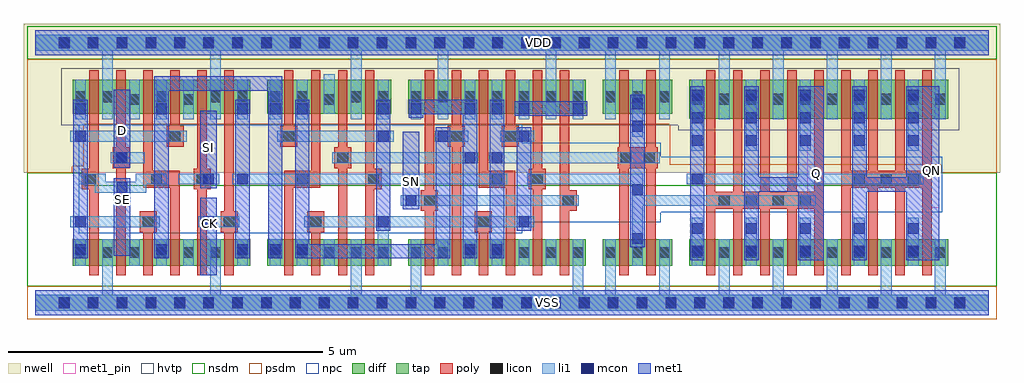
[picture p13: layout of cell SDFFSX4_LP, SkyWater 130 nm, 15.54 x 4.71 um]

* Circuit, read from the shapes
.subckt SDFFSX4_LP CK D Q QN SE SI SN VDD VSS
XM1 VSS SE n1 VSS sky130_fd_pr__nfet_01v8 w=0.42 l=0.15
XM2 n2 D VSS VSS sky130_fd_pr__nfet_01v8 w=0.42 l=0.15
XM3 n3 n1 n2 VSS sky130_fd_pr__nfet_01v8 w=0.42 l=0.15
XM4 n4 SE n3 VSS sky130_fd_pr__nfet_01v8 w=0.42 l=0.15
XM5 VSS SI n4 VSS sky130_fd_pr__nfet_01v8 w=0.42 l=0.15
XM6 n5 CK VSS VSS sky130_fd_pr__nfet_01v8 w=0.42 l=0.15
XM7 n6 n5 n3 VSS sky130_fd_pr__nfet_01v8 w=0.42 l=0.15
XM8 n7 n8 n6 VSS sky130_fd_pr__nfet_01v8 w=0.42 l=0.15
XM9 VSS n9 n7 VSS sky130_fd_pr__nfet_01v8 w=0.42 l=0.15
XM10 n8 n5 VSS VSS sky130_fd_pr__nfet_01v8 w=0.42 l=0.15
XM11 n10 SN VSS VSS sky130_fd_pr__nfet_01v8 w=0.42 l=0.15
XM12 n9 n6 n10 VSS sky130_fd_pr__nfet_01v8 w=0.42 l=0.15
XM13 n11 n8 n9 VSS sky130_fd_pr__nfet_01v8 w=0.42 l=0.15
XM14 n12 n5 n11 VSS sky130_fd_pr__nfet_01v8 w=0.42 l=0.15
XM15 n13 n14 n12 VSS sky130_fd_pr__nfet_01v8 w=0.42 l=0.15
XM16 VSS SN n13 VSS sky130_fd_pr__nfet_01v8 w=0.42 l=0.15
XM17 n14 n11 VSS VSS sky130_fd_pr__nfet_01v8 w=0.42 l=0.15 m=2
XM18 VSS n14 n15 VSS sky130_fd_pr__nfet_01v8 w=0.42 l=0.15
XM19 Q n14 VSS VSS sky130_fd_pr__nfet_01v8 w=0.42 l=0.15 m=4
XM20 QN n15 VSS VSS sky130_fd_pr__nfet_01v8 w=0.42 l=0.15 m=4
XM21 VDD SE n1 VDD sky130_fd_pr__pfet_01v8_hvt w=0.54 l=0.15
XM22 n16 D VDD VDD sky130_fd_pr__pfet_01v8_hvt w=0.54 l=0.15
XM23 n3 SE n16 VDD sky130_fd_pr__pfet_01v8_hvt w=0.54 l=0.15
XM24 n17 n1 n3 VDD sky130_fd_pr__pfet_01v8_hvt w=0.54 l=0.15
XM25 VDD SI n17 VDD sky130_fd_pr__pfet_01v8_hvt w=0.54 l=0.15
XM26 n5 CK VDD VDD sky130_fd_pr__pfet_01v8_hvt w=0.54 l=0.15
XM27 n6 n8 n3 VDD sky130_fd_pr__pfet_01v8_hvt w=0.54 l=0.15
XM28 n18 n5 n6 VDD sky130_fd_pr__pfet_01v8_hvt w=0.54 l=0.15
XM29 VDD n9 n18 VDD sky130_fd_pr__pfet_01v8_hvt w=0.54 l=0.15
XM30 n8 n5 VDD VDD sky130_fd_pr__pfet_01v8_hvt w=0.54 l=0.15
XM31 VDD SN n9 VDD sky130_fd_pr__pfet_01v8_hvt w=0.54 l=0.15
XM32 n9 n6 VDD VDD sky130_fd_pr__pfet_01v8_hvt w=0.54 l=0.15
XM33 n11 n5 n9 VDD sky130_fd_pr__pfet_01v8_hvt w=0.54 l=0.15
XM34 n19 n8 n11 VDD sky130_fd_pr__pfet_01v8_hvt w=0.54 l=0.15
XM35 VDD n14 n19 VDD sky130_fd_pr__pfet_01v8_hvt w=0.54 l=0.15
XM36 n19 SN VDD VDD sky130_fd_pr__pfet_01v8_hvt w=0.54 l=0.15
XM37 n14 n11 VDD VDD sky130_fd_pr__pfet_01v8_hvt w=0.54 l=0.15 m=2
XM38 VDD n14 n15 VDD sky130_fd_pr__pfet_01v8_hvt w=0.62 l=0.15
XM39 Q n14 VDD VDD sky130_fd_pr__pfet_01v8_hvt w=0.62 l=0.15 m=4
XM40 QN n15 VDD VDD sky130_fd_pr__pfet_01v8_hvt w=0.62 l=0.15 m=4
.ends

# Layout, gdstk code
from math import pi, radians
import gdstk
lib = gdstk.Library(unit=1e-6, precision=1e-09)
def R(c, l, rs):  # rectangles x0, y0, x1, y1
    for r in rs: c.add(gdstk.rectangle(r[:2], r[2:], *l))
def A(c, l, x, y, w, h, nx, ny, dx, dy):  # array of equal rectangles
    R(c, l, [(x+i*dx, y+j*dy, x+i*dx+w, y+j*dy+h) for i in range(nx) for j in range(ny)])
def P(c, l, *ps):  # polygons
    for p in ps: c.add(gdstk.Polygon(p, *l))
nwell = (64, 20)
diff = (65, 20)
tap = (65, 44)
poly = (66, 20)
licon = (66, 44)
li1 = (67, 20)
mcon = (67, 44)
met1_pin = (68, 16)
met1 = (68, 20)
hvtp = (78, 44)
nsdm = (93, 44)
psdm = (94, 20)
npc = (95, 20)

pyl1con_c_cdns_758729379 = lib.new_cell('PYL1CON_C_CDNS_758729379653')
R(pyl1con_c_cdns_758729379, poly, [(-0.135,-0.165,0.135,0.165)])
R(pyl1con_c_cdns_758729379, licon, [(-0.085,-0.085,0.085,0.085)])
R(pyl1con_c_cdns_758729379, npc, [(-0.185,-0.185,0.185,0.185)])

l1m1_c_cdns_758729379651 = lib.new_cell('L1M1_C_CDNS_7587293796510')
R(l1m1_c_cdns_758729379651, li1, [(-0.085,-0.525,0.085,0.525)])
A(l1m1_c_cdns_758729379651, mcon, -0.085, -0.445, 0.17, 0.17, 1, 3, 0, 0.36)
R(l1m1_c_cdns_758729379651, met1, [(-0.115,-0.505,0.115,0.505)])

l1m1_c_cdns_758729379655 = lib.new_cell('L1M1_C_CDNS_758729379655')
R(l1m1_c_cdns_758729379655, li1, [(-0.085,-0.165,0.085,0.165)])
R(l1m1_c_cdns_758729379655, mcon, [(-0.085,-0.085,0.085,0.085)])
R(l1m1_c_cdns_758729379655, met1, [(-0.115,-0.145,0.115,0.145)])

l1m1_c_cdns_758729379659 = lib.new_cell('L1M1_C_CDNS_758729379659')
R(l1m1_c_cdns_758729379659, li1, [(-0.085,-0.345,0.085,0.345)])
R(l1m1_c_cdns_758729379659, mcon, [(-0.085,-0.265,0.085,-0.095), (-0.085,0.095,0.085,0.265)])
R(l1m1_c_cdns_758729379659, met1, [(-0.115,-0.325,0.115,0.325)])

l1m1_c_cdns_758729379654 = lib.new_cell('L1M1_C_CDNS_758729379654')
R(l1m1_c_cdns_758729379654, li1, [(-0.165,-0.085,0.165,0.085)])
R(l1m1_c_cdns_758729379654, mcon, [(-0.085,-0.085,0.085,0.085)])
R(l1m1_c_cdns_758729379654, met1, [(-0.115,-0.145,0.115,0.145)])

l1m1_c_cdns_758729379652 = lib.new_cell('L1M1_C_CDNS_7587293796521')
R(l1m1_c_cdns_758729379652, li1, [(-0.085,-0.165,0.085,0.165)])
R(l1m1_c_cdns_758729379652, mcon, [(-0.085,-0.085,0.085,0.085)])
R(l1m1_c_cdns_758729379652, met1, [(-0.145,-0.085,0.145,0.085)])

licondiff_c_cdns_7587293 = lib.new_cell('LICONDIFF_C_CDNS_758729379657')
R(licondiff_c_cdns_7587293, diff, [(-0.125,-0.145,0.125,0.145)])
R(licondiff_c_cdns_7587293, licon, [(-0.085,-0.085,0.085,0.085), (-0.085,-0.085,0.085,0.085)])

c_pyl1con_c_cdns_758729379 = lib.new_cell('PYL1CON_C_CDNS_7587293796516')
R(c_pyl1con_c_cdns_758729379, poly, [(-0.135,-0.29,0.135,0.29)])
R(c_pyl1con_c_cdns_758729379, licon, [(-0.085,-0.085,0.085,0.085)])
R(c_pyl1con_c_cdns_758729379, npc, [(-0.185,-0.185,0.185,0.185)])

c_l1m1_c_cdns_758729379651 = lib.new_cell('L1M1_C_CDNS_7587293796519')
R(c_l1m1_c_cdns_758729379651, li1, [(-0.125,-0.085,0.125,0.085)])
R(c_l1m1_c_cdns_758729379651, mcon, [(-0.085,-0.085,0.085,0.085)])
R(c_l1m1_c_cdns_758729379651, met1, [(-0.115,-0.145,0.115,0.145)])

c_pyl1con_c_cdns_758729379_ = lib.new_cell('PYL1CON_C_CDNS_7587293796520')
R(c_pyl1con_c_cdns_758729379_, poly, [(-0.135,-0.37,0.135,0.21)])
R(c_pyl1con_c_cdns_758729379_, licon, [(-0.085,-0.085,0.085,0.085)])
R(c_pyl1con_c_cdns_758729379_, npc, [(-0.185,-0.185,0.185,0.185)])

sdffsx4_lp = lib.new_cell('SDFFSX4_LP')
R(sdffsx4_lp, nwell, [(-0.18,2.07,15.36,4.445)])
R(sdffsx4_lp, diff, [(0.595,0.59,3.425,1.01), (3.695,0.59,5.665,1.01), (5.935,0.59,8.765,1.01), (9.035,0.59,10.145,1.01), (10.415,0.59,14.535,1.01), (10.415,2.93,14.535,3.55), (0.595,3.01,3.425,3.55), (3.695,3.01,5.665,3.55), (5.935,3.01,8.765,3.55), (9.035,3.01,10.145,3.55)])
A(sdffsx4_lp, poly, 1.72, 0.44, 0.15, 0.72, 3, 1, 2.67, 0)
A(sdffsx4_lp, poly, 10.68, 0.44, 0.15, 3.26, 9, 1, 0.43, 0)
R(sdffsx4_lp, poly, [(0.86,0.44,1.01,3.7), (1.29,0.44,1.44,3.7), (2.58,0.44,2.73,3.7), (3.01,0.44,3.16,3.7), (4.82,0.44,4.97,3.7), (5.25,0.44,5.4,3.7), (6.2,0.44,6.35,3.7), (6.63,0.44,6.78,3.7), (7.92,0.44,8.07,3.7), (8.35,0.44,8.5,3.7), (2.15,2.65,2.3,3.7), (3.96,2.65,4.11,3.7), (7.49,2.65,7.64,3.7)])
P(sdffsx4_lp, poly, [(2.3,2.045),(1.87,2.045),(1.87,3.7),(1.72,3.7),(1.72,1.895),(2.15,1.895),(2.15,0.44),(2.3,0.44)],
  [(4.54,3.7),(4.39,3.7),(4.39,2.045),(3.96,2.045),(3.96,0.44),(4.11,0.44),(4.11,1.895),(4.54,1.895)],
  [(7.64,2.045),(7.21,2.045),(7.21,3.7),(7.06,3.7),(7.06,1.895),(7.49,1.895),(7.49,0.44),(7.64,0.44)],
  [(9.91,2.475),(9.88,2.475),(9.88,3.7),(9.73,3.7),(9.73,2.475),(9.45,2.475),(9.45,3.7),(9.3,3.7),(9.3,2.475),(9.27,2.475),(9.27,2.145),(9.3,2.145),(9.3,0.44),(9.45,0.44),(9.45,2.145),(9.73,2.145),(9.73,0.44),(9.88,0.44),(9.88,2.145),(9.91,2.145)])
A(sdffsx4_lp, licon, 0.375, -0.085, 0.17, 0.17, 32, 2, 0.46, 4.14)
A(sdffsx4_lp, licon, 1.065, 0.715, 0.17, 0.17, 3, 2, 0.86, 2.48)
A(sdffsx4_lp, licon, 9.075, 0.715, 0.17, 0.17, 3, 2, 0.43, 2.48)
A(sdffsx4_lp, licon, 10.455, 0.715, 0.17, 0.17, 10, 2, 0.43, 2.44)
A(sdffsx4_lp, licon, 5.975, 3.195, 0.17, 0.17, 7, 1, 0.43, 0)
R(sdffsx4_lp, licon, [(0.635,0.715,0.805,0.885), (3.215,0.715,3.385,0.885), (3.735,0.715,3.905,0.885), (4.165,0.715,4.335,0.885), (5.025,0.715,5.195,0.885), (5.455,0.715,5.625,0.885), (5.975,0.715,6.145,0.885), (6.835,0.715,7.005,0.885), (7.265,0.715,7.435,0.885), (8.555,0.715,8.725,0.885), (0.635,3.195,0.805,3.365), (3.215,3.195,3.385,3.365), (3.735,3.195,3.905,3.365), (4.165,3.195,4.335,3.365), (5.025,3.195,5.195,3.365), (5.455,3.195,5.625,3.365)])
A(sdffsx4_lp, li1, 0.635, 0.59, 0.17, 0.42, 3, 1, 1.29, 0)
A(sdffsx4_lp, li1, 10.455, 0.59, 0.17, 0.42, 5, 1, 0.86, 0)
A(sdffsx4_lp, li1, 10.455, 2.93, 0.17, 0.62, 5, 1, 0.86, 0)
A(sdffsx4_lp, li1, 0.635, 3.01, 0.17, 0.54, 3, 1, 1.29, 0)
A(sdffsx4_lp, li1, 6.835, 3.01, 0.17, 0.54, 3, 1, 0.43, 0)
R(sdffsx4_lp, li1, [(3.735,0.59,3.905,1.01), (4.165,0.59,4.335,1.01), (6.835,0.59,7.005,1.01), (7.265,0.59,7.435,1.01), (3.735,3.01,3.905,3.55), (4.165,3.01,4.335,3.55), (5.455,3.01,5.625,3.55), (5.975,3.01,6.145,3.55), (8.555,3.01,8.725,3.55), (9.505,3.01,9.675,3.55)])
P(sdffsx4_lp, li1, [(2.095,2.055),(1.6,2.055),(1.6,1.925),(1.12,1.925),(1.12,2.055),(0.69,2.055),(0.69,1.885),(0.95,1.885),(0.95,1.755),(1.77,1.755),(1.77,1.885),(2.095,1.885)],
  [(7.945,1.375),(4.28,1.375),(4.28,1.205),(5.455,1.205),(5.455,0.59),(5.625,0.59),(5.625,1.205),(7.945,1.205)],
  [(12.425,1.715),(9.675,1.715),(9.675,2.055),(7.83,2.055),(7.83,1.885),(9.505,1.885),(9.505,0.59),(9.675,0.59),(9.675,1.545),(12.425,1.545)],
  [(15.18,4.265),(0,4.265),(0,4.015),(1.065,4.015),(1.065,2.925),(1.235,2.925),(1.235,4.015),(2.785,4.015),(2.785,2.925),(2.955,2.925),(2.955,4.015),(5.025,4.015),(5.025,2.925),(5.195,2.925),(5.195,4.015),(6.405,4.015),(6.405,2.925),(6.575,2.925),(6.575,4.015),(8.125,4.015),(8.125,2.925),(8.295,2.925),(8.295,4.015),(9.075,4.015),(9.075,2.925),(9.245,2.925),(9.245,4.015),(9.935,4.015),(9.935,2.925),(10.105,2.925),(10.105,4.015),(10.885,4.015),(10.885,2.925),(11.055,2.925),(11.055,4.015),(11.745,4.015),(11.745,2.925),(11.915,2.925),(11.915,4.015),(12.605,4.015),(12.605,2.925),(12.775,2.925),(12.775,4.015),(13.465,4.015),(13.465,2.925),(13.635,2.925),(13.635,4.015),(14.325,4.015),(14.325,2.925),(14.495,2.925),(14.495,4.015),(15.18,4.015)],
  [(15.18,0.125),(14.495,0.125),(14.495,1.015),(14.325,1.015),(14.325,0.125),(13.635,0.125),(13.635,1.015),(13.465,1.015),(13.465,0.125),(12.775,0.125),(12.775,1.015),(12.605,1.015),(12.605,0.125),(11.915,0.125),(11.915,1.015),(11.745,1.015),(11.745,0.125),(11.055,0.125),(11.055,1.015),(10.885,1.015),(10.885,0.125),(10.105,0.125),(10.105,1.015),(9.935,1.015),(9.935,0.125),(9.245,0.125),(9.245,1.015),(9.075,1.015),(9.075,0.125),(8.725,0.125),(8.725,1.015),(8.555,1.015),(8.555,0.125),(6.145,0.125),(6.145,1.015),(5.975,1.015),(5.975,0.125),(5.195,0.125),(5.195,1.015),(5.025,1.015),(5.025,0.125),(2.955,0.125),(2.955,1.015),(2.785,1.015),(2.785,0.125),(1.235,0.125),(1.235,1.015),(1.065,1.015),(1.065,0.125),(0,0.125),(0,-0.125),(15.18,-0.125)])
A(sdffsx4_lp, mcon, 0.375, -0.085, 0.17, 0.17, 32, 2, 0.46, 4.14)
R(sdffsx4_lp, met1_pin, [(2.63,0.435,2.89,1.675), (1.25,0.745,1.51,1.985), (12.29,1.465,12.55,2.705), (5.85,1.485,6.11,2.725), (14.13,1.515,14.39,2.755), (2.63,1.82,2.89,3.06), (1.25,2.15,1.51,3.39)])
P(sdffsx4_lp, met1, [(12.55,3.45),(12.145,3.45),(12.145,2),(11.515,2),(11.515,3.45),(11.285,3.45),(11.285,0.68),(11.515,0.68),(11.515,1.77),(12.145,1.77),(12.145,0.68),(12.55,0.68)],
  [(14.39,3.45),(13.865,3.45),(13.865,2),(13.235,2),(13.235,3.45),(13.005,3.45),(13.005,0.68),(13.235,0.68),(13.235,1.77),(13.865,1.77),(13.865,0.675),(14.39,0.675)])
P(sdffsx4_lp, hvtp, [(14.715,3.73),(0.415,3.73),(0.415,2.83),(10.235,2.83),(10.235,2.75),(14.715,2.75)])
R(sdffsx4_lp, nsdm, [(-0.125,3.875,15.305,4.405)])
P(sdffsx4_lp, nsdm, [(15.305,2.07),(14.085,2.07),(14.085,1.875),(0.77,1.875),(0.77,2.07),(-0.125,2.07),(-0.125,0.265),(15.305,0.265)])
R(sdffsx4_lp, psdm, [(-0.125,-0.265,15.305,0.265)])
P(sdffsx4_lp, psdm, [(15.305,3.875),(-0.125,3.875),(-0.125,2.07),(0.585,2.07),(0.585,2.17),(0.77,2.17),(0.77,2.845),(10.1,2.845),(10.1,2.2),(14.425,2.2),(14.425,2.07),(15.305,2.07)])
P(sdffsx4_lp, npc, [(14.44,2.325),(9.96,2.325),(9.96,2.55),(7.75,2.55),(7.75,2.835),(0.69,2.835),(0.69,1.11),(7.75,1.11),(7.75,1.285),(9.96,1.285),(9.96,1.445),(14.44,1.445)])
sdffsx4_lp.add(gdstk.FlexPath([(6.365,2.65),(6.89,2.65)], 0.17, ends="flush", simple_path=True, layer=67, datatype=20))  # li1
sdffsx4_lp.add(gdstk.FlexPath([(3.85,2.65),(5.705,2.65)], 0.17, ends="flush", simple_path=True, layer=67, datatype=20))  # li1
sdffsx4_lp.add(gdstk.FlexPath([(7.4,2.65),(7.945,2.65)], 0.17, ends="flush", simple_path=True, layer=67, datatype=20))  # li1
sdffsx4_lp.add(gdstk.FlexPath([(0.555,1.29),(1.98,1.29)], 0.17, ends="flush", simple_path=True, layer=67, datatype=20))  # li1
sdffsx4_lp.add(gdstk.FlexPath([(4.68,3.01),(4.68,3.635)], 0.17, ends="flush", simple_path=True, layer=67, datatype=20))  # li1
sdffsx4_lp.add(gdstk.FlexPath([(4.68,0.59),(4.68,1.015)], 0.17, ends="flush", simple_path=True, layer=67, datatype=20))  # li1
sdffsx4_lp.add(gdstk.FlexPath([(8.21,0.59),(8.21,1.015)], 0.17, ends="flush", simple_path=True, layer=67, datatype=20))  # li1
sdffsx4_lp.add(gdstk.FlexPath([(7.78,0.59),(7.78,1.015)], 0.17, ends="flush", simple_path=True, layer=67, datatype=20))  # li1
sdffsx4_lp.add(gdstk.FlexPath([(2.82,1.97),(2.275,1.97)], 0.17, ends="flush", simple_path=True, layer=67, datatype=20))  # li1
sdffsx4_lp.add(gdstk.FlexPath([(3.25,1.29),(2.705,1.29)], 0.17, ends="flush", simple_path=True, layer=67, datatype=20))  # li1
sdffsx4_lp.add(gdstk.FlexPath([(3.135,1.97),(7.515,1.97)], 0.17, ends="flush", simple_path=True, layer=67, datatype=20))  # li1
sdffsx4_lp.add(gdstk.FlexPath([(6.49,0.59),(6.49,1.015)], 0.17, ends="flush", simple_path=True, layer=67, datatype=20))  # li1
sdffsx4_lp.add(gdstk.FlexPath([(7.225,2.31),(9.94,2.31)], 0.17, ends="flush", simple_path=True, layer=67, datatype=20))  # li1
sdffsx4_lp.add(gdstk.FlexPath([(0.555,2.65),(2.41,2.65)], 0.17, ends="flush", simple_path=True, layer=67, datatype=20))  # li1
sdffsx4_lp.add(gdstk.FlexPath([(1.58,2.925),(1.58,3.55)], 0.17, ends="flush", simple_path=True, layer=67, datatype=20))  # li1
sdffsx4_lp.add(gdstk.FlexPath([(2.44,2.925),(2.44,3.55)], 0.17, ends="flush", simple_path=True, layer=67, datatype=20))  # li1
sdffsx4_lp.add(gdstk.FlexPath([(5.895,1.63),(8.65,1.63)], 0.17, ends="flush", simple_path=True, layer=67, datatype=20))  # li1
sdffsx4_lp.add(gdstk.FlexPath([(10.54,1.97),(14.145,1.97)], 0.17, ends="flush", simple_path=True, layer=67, datatype=20))  # li1
sdffsx4_lp.add(gdstk.FlexPath([(1.58,0.59),(1.58,1.015)], 0.17, ends="flush", simple_path=True, layer=67, datatype=20))  # li1
sdffsx4_lp.add(gdstk.FlexPath([(2.44,0.59),(2.44,1.015)], 0.17, ends="flush", simple_path=True, layer=67, datatype=20))  # li1
sdffsx4_lp.add(gdstk.FlexPath([(1.745,2.31),(1.2,2.31)], 0.17, ends="flush", simple_path=True, layer=67, datatype=20))  # li1
sdffsx4_lp.add(gdstk.FlexPath([(7.045,2.31),(4.73,2.31)], 0.17, ends="flush", simple_path=True, layer=67, datatype=20))  # li1
sdffsx4_lp.add(gdstk.FlexPath([(0,0),(15.18,0)], 0.4, ends="flush", simple_path=True, layer=68, datatype=20))  # met1
sdffsx4_lp.add(gdstk.FlexPath([(0,4.14),(15.18,4.14)], 0.4, ends="flush", simple_path=True, layer=68, datatype=20))  # met1
sdffsx4_lp.add(gdstk.FlexPath([(7.78,1.145),(7.78,2.795)], 0.23, ends="flush", simple_path=True, layer=68, datatype=20))  # met1
sdffsx4_lp.add(gdstk.FlexPath([(2.01,0.705),(2.01,3.49),(3.82,3.49),(3.82,0.705)], 0.23, ends="flush", simple_path=True, layer=68, datatype=20))  # met1
sdffsx4_lp.add(gdstk.FlexPath([(6.49,2.795),(6.49,0.82),(4.25,0.82),(4.25,3.235)], 0.23, ends="flush", simple_path=True, layer=68, datatype=20))  # met1
sdffsx4_lp.add(gdstk.FlexPath([(0.72,0.705),(0.72,3.235)], 0.23, ends="flush", simple_path=True, layer=68, datatype=20))  # met1
sdffsx4_lp.add(gdstk.FlexPath([(5.54,1.145),(5.54,3.235)], 0.23, ends="flush", simple_path=True, layer=68, datatype=20))  # met1
sdffsx4_lp.add(gdstk.FlexPath([(3.3,0.705),(3.3,3.235)], 0.23, ends="flush", simple_path=True, layer=68, datatype=20))  # met1
sdffsx4_lp.add(gdstk.FlexPath([(5.98,1.485),(5.98,2.725)], 0.26, ends="flush", simple_path=True, layer=68, datatype=20))  # met1
sdffsx4_lp.add(gdstk.FlexPath([(2.76,0.435),(2.76,1.675)], 0.26, ends="flush", simple_path=True, layer=68, datatype=20))  # met1
sdffsx4_lp.add(gdstk.FlexPath([(2.76,1.82),(2.76,3.06)], 0.26, ends="flush", simple_path=True, layer=68, datatype=20))  # met1
sdffsx4_lp.add(gdstk.FlexPath([(1.38,2.15),(1.38,3.39)], 0.26, ends="flush", simple_path=True, layer=68, datatype=20))  # met1
sdffsx4_lp.add(gdstk.FlexPath([(10.54,0.68),(10.54,3.45)], 0.23, ends="flush", simple_path=True, layer=68, datatype=20))  # met1
sdffsx4_lp.add(gdstk.FlexPath([(5.945,3.12),(6.92,3.12),(6.92,0.705)], 0.23, ends="flush", simple_path=True, layer=68, datatype=20))  # met1
sdffsx4_lp.add(gdstk.FlexPath([(9.59,0.88),(9.59,3.315)], 0.23, ends="flush", simple_path=True, layer=68, datatype=20))  # met1
sdffsx4_lp.add(gdstk.FlexPath([(7.635,3.09),(8.785,3.09)], 0.23, ends="flush", simple_path=True, layer=68, datatype=20))  # met1
sdffsx4_lp.add(gdstk.FlexPath([(1.38,0.745),(1.38,1.985)], 0.26, ends="flush", simple_path=True, layer=68, datatype=20))  # met1
sdffsx4_lp.add(gdstk.FlexPath([(7.35,0.705),(7.35,3.235)], 0.23, ends="flush", simple_path=True, layer=68, datatype=20))  # met1
sdffsx4_lp.add(gdstk.FlexPath([(0,4.14),(15.18,4.14)], 0.4, ends="flush", simple_path=True, layer=68, datatype=16))  # met1_pin
sdffsx4_lp.add(gdstk.FlexPath([(0,0),(15.18,0)], 0.4, ends="flush", simple_path=True, layer=68, datatype=16))  # met1_pin
sdffsx4_lp.add(gdstk.FlexPath([(0,4.14),(15.18,4.14)], 0.25, ends="flush", simple_path=True, layer=65, datatype=44))  # tap
sdffsx4_lp.add(gdstk.FlexPath([(0,0),(15.18,0)], 0.25, ends="flush", simple_path=True, layer=65, datatype=44))  # tap
sdffsx4_lp.add(gdstk.Reference(pyl1con_c_cdns_758729379, (6.705,2.65), rotation=pi))
sdffsx4_lp.add(gdstk.Reference(pyl1con_c_cdns_758729379, (4.895,2.31)))
sdffsx4_lp.add(gdstk.Reference(pyl1con_c_cdns_758729379, (6.275,1.63)))
sdffsx4_lp.add(gdstk.Reference(pyl1con_c_cdns_758729379, (5.385,1.97), rotation=pi))
sdffsx4_lp.add(gdstk.Reference(pyl1con_c_cdns_758729379, (3.085,1.29), x_reflection=True))
sdffsx4_lp.add(gdstk.Reference(pyl1con_c_cdns_758729379, (2.655,1.97), x_reflection=True))
sdffsx4_lp.add(gdstk.Reference(pyl1con_c_cdns_758729379, (2.225,2.65), rotation=pi))
sdffsx4_lp.add(gdstk.Reference(pyl1con_c_cdns_758729379, (1.795,1.29), x_reflection=True))
sdffsx4_lp.add(gdstk.Reference(pyl1con_c_cdns_758729379, (4.465,1.29), rotation=pi))
sdffsx4_lp.add(gdstk.Reference(pyl1con_c_cdns_758729379, (4.035,2.65), x_reflection=True))
sdffsx4_lp.add(gdstk.Reference(pyl1con_c_cdns_758729379, (7.565,2.65), rotation=pi))
sdffsx4_lp.add(gdstk.Reference(pyl1con_c_cdns_758729379, (7.135,1.29), x_reflection=True))
sdffsx4_lp.add(gdstk.Reference(pyl1con_c_cdns_758729379, (13.12,1.97), rotation=3*pi/2, x_reflection=True))
sdffsx4_lp.add(gdstk.Reference(pyl1con_c_cdns_758729379, (13.55,1.97), rotation=3*pi/2, x_reflection=True))
sdffsx4_lp.add(gdstk.Reference(pyl1con_c_cdns_758729379, (12.26,1.63), rotation=3*pi/2, x_reflection=True))
sdffsx4_lp.add(gdstk.Reference(pyl1con_c_cdns_758729379, (11.83,1.63), rotation=3*pi/2, x_reflection=True))
sdffsx4_lp.add(gdstk.Reference(pyl1con_c_cdns_758729379, (11.4,1.63), rotation=3*pi/2, x_reflection=True))
sdffsx4_lp.add(gdstk.Reference(pyl1con_c_cdns_758729379, (8.485,1.63)))
sdffsx4_lp.add(gdstk.Reference(pyl1con_c_cdns_758729379, (7.995,1.97)))
sdffsx4_lp.add(gdstk.Reference(pyl1con_c_cdns_758729379, (13.98,1.97), rotation=3*pi/2, x_reflection=True))
sdffsx4_lp.add(gdstk.Reference(pyl1con_c_cdns_758729379, (0.875,1.97)))
sdffsx4_lp.add(gdstk.Reference(pyl1con_c_cdns_758729379, (9.775,2.31), rotation=pi, x_reflection=True))
sdffsx4_lp.add(gdstk.Reference(pyl1con_c_cdns_758729379, (9.405,2.31), rotation=pi, x_reflection=True))
sdffsx4_lp.add(gdstk.Reference(pyl1con_c_cdns_758729379, (1.365,2.31)))
sdffsx4_lp.add(gdstk.Reference(pyl1con_c_cdns_758729379, (10.97,1.63), rotation=3*pi/2, x_reflection=True))
sdffsx4_lp.add(gdstk.Reference(l1m1_c_cdns_758729379651, (13.12,2.945)))
sdffsx4_lp.add(gdstk.Reference(l1m1_c_cdns_758729379651, (13.98,2.945)))
sdffsx4_lp.add(gdstk.Reference(l1m1_c_cdns_758729379651, (10.54,2.945)))
sdffsx4_lp.add(gdstk.Reference(l1m1_c_cdns_758729379651, (12.26,2.945)))
sdffsx4_lp.add(gdstk.Reference(l1m1_c_cdns_758729379651, (11.4,2.945)))
sdffsx4_lp.add(gdstk.Reference(l1m1_c_cdns_758729379655, (3.82,3.09)))
sdffsx4_lp.add(gdstk.Reference(l1m1_c_cdns_758729379655, (3.82,0.85)))
sdffsx4_lp.add(gdstk.Reference(l1m1_c_cdns_758729379655, (2.01,3.09)))
sdffsx4_lp.add(gdstk.Reference(l1m1_c_cdns_758729379655, (2.01,0.85)))
sdffsx4_lp.add(gdstk.Reference(l1m1_c_cdns_758729379655, (0.72,3.09)))
sdffsx4_lp.add(gdstk.Reference(l1m1_c_cdns_758729379655, (0.72,0.85)))
sdffsx4_lp.add(gdstk.Reference(l1m1_c_cdns_758729379655, (6.06,3.09)))
sdffsx4_lp.add(gdstk.Reference(l1m1_c_cdns_758729379655, (5.54,3.09), rotation=pi, x_reflection=True))
sdffsx4_lp.add(gdstk.Reference(l1m1_c_cdns_758729379655, (3.3,0.85)))
sdffsx4_lp.add(gdstk.Reference(l1m1_c_cdns_758729379655, (3.3,3.09)))
sdffsx4_lp.add(gdstk.Reference(l1m1_c_cdns_758729379655, (4.25,3.09)))
sdffsx4_lp.add(gdstk.Reference(l1m1_c_cdns_758729379655, (4.25,0.85)))
sdffsx4_lp.add(gdstk.Reference(l1m1_c_cdns_758729379655, (6.92,0.85)))
sdffsx4_lp.add(gdstk.Reference(l1m1_c_cdns_758729379655, (6.92,3.09)))
sdffsx4_lp.add(gdstk.Reference(l1m1_c_cdns_758729379655, (9.59,1.8)))
sdffsx4_lp.add(gdstk.Reference(l1m1_c_cdns_758729379655, (7.35,3.09)))
sdffsx4_lp.add(gdstk.Reference(l1m1_c_cdns_758729379655, (7.35,0.85)))
sdffsx4_lp.add(gdstk.Reference(l1m1_c_cdns_758729379655, (9.59,1.025), rotation=pi, x_reflection=True))
sdffsx4_lp.add(gdstk.Reference(l1m1_c_cdns_758729379659, (9.59,2.99), rotation=pi, x_reflection=True))
sdffsx4_lp.add(gdstk.Reference(l1m1_c_cdns_758729379659, (13.12,1.005)))
sdffsx4_lp.add(gdstk.Reference(l1m1_c_cdns_758729379659, (13.98,1.005)))
sdffsx4_lp.add(gdstk.Reference(l1m1_c_cdns_758729379659, (12.26,1.005)))
sdffsx4_lp.add(gdstk.Reference(l1m1_c_cdns_758729379659, (11.4,1.005)))
sdffsx4_lp.add(gdstk.Reference(l1m1_c_cdns_758729379659, (10.54,1.005)))
sdffsx4_lp.add(gdstk.Reference(l1m1_c_cdns_758729379654, (7.78,2.65)))
sdffsx4_lp.add(gdstk.Reference(l1m1_c_cdns_758729379654, (7.78,1.29)))
sdffsx4_lp.add(gdstk.Reference(l1m1_c_cdns_758729379654, (2.76,1.29), x_reflection=True))
sdffsx4_lp.add(gdstk.Reference(l1m1_c_cdns_758729379654, (2.76,1.97), x_reflection=True))
sdffsx4_lp.add(gdstk.Reference(l1m1_c_cdns_758729379654, (3.3,1.97)))
sdffsx4_lp.add(gdstk.Reference(l1m1_c_cdns_758729379654, (5.54,2.65), rotation=pi, x_reflection=True))
sdffsx4_lp.add(gdstk.Reference(l1m1_c_cdns_758729379654, (5.54,1.29), rotation=pi, x_reflection=True))
sdffsx4_lp.add(gdstk.Reference(l1m1_c_cdns_758729379654, (5.98,1.63), x_reflection=True))
sdffsx4_lp.add(gdstk.Reference(l1m1_c_cdns_758729379654, (1.38,2.31), x_reflection=True))
sdffsx4_lp.add(gdstk.Reference(l1m1_c_cdns_758729379654, (10.54,1.97)))
sdffsx4_lp.add(gdstk.Reference(l1m1_c_cdns_758729379654, (0.72,1.29)))
sdffsx4_lp.add(gdstk.Reference(l1m1_c_cdns_758729379654, (0.72,2.65)))
sdffsx4_lp.add(gdstk.Reference(l1m1_c_cdns_758729379654, (1.38,1.84), x_reflection=True))
sdffsx4_lp.add(gdstk.Reference(l1m1_c_cdns_758729379652, (7.78,3.09)))
sdffsx4_lp.add(gdstk.Reference(l1m1_c_cdns_758729379652, (8.64,3.09)))
sdffsx4_lp.add(gdstk.Reference(licondiff_c_cdns_7587293, (4.68,3.235)))
sdffsx4_lp.add(gdstk.Reference(licondiff_c_cdns_7587293, (4.68,0.8)))
sdffsx4_lp.add(gdstk.Reference(licondiff_c_cdns_7587293, (8.21,0.8)))
sdffsx4_lp.add(gdstk.Reference(licondiff_c_cdns_7587293, (7.78,0.8)))
sdffsx4_lp.add(gdstk.Reference(licondiff_c_cdns_7587293, (6.49,0.8), rotation=pi, x_reflection=True))
sdffsx4_lp.add(gdstk.Reference(licondiff_c_cdns_7587293, (2.44,0.8)))
sdffsx4_lp.add(gdstk.Reference(licondiff_c_cdns_7587293, (1.58,0.8)))
sdffsx4_lp.add(gdstk.Reference(licondiff_c_cdns_7587293, (2.44,3.235)))
sdffsx4_lp.add(gdstk.Reference(licondiff_c_cdns_7587293, (1.58,3.235)))
sdffsx4_lp.add(gdstk.Reference(c_pyl1con_c_cdns_758729379, (4.25,1.97), rotation=pi/2, x_reflection=True))
sdffsx4_lp.add(gdstk.Reference(c_pyl1con_c_cdns_758729379, (7.35,1.97), rotation=pi/2))
sdffsx4_lp.add(gdstk.Reference(c_l1m1_c_cdns_758729379651, (6.49,2.65)))
sdffsx4_lp.add(gdstk.Reference(c_l1m1_c_cdns_758729379651, (6.92,2.31), rotation=pi, x_reflection=True))
sdffsx4_lp.add(gdstk.Reference(c_l1m1_c_cdns_758729379651, (7.35,2.31), rotation=pi, x_reflection=True))
sdffsx4_lp.add(gdstk.Reference(c_pyl1con_c_cdns_758729379_, (1.93,1.97), rotation=pi/2))
sdffsx4_lp.add(gdstk.Label('Q', (12.435,2.06), layer=68, texttype=5))
sdffsx4_lp.add(gdstk.Label('CK', (2.775,1.265), layer=68, texttype=5))
sdffsx4_lp.add(gdstk.Label('SI', (2.755,2.47), layer=68, texttype=5))
sdffsx4_lp.add(gdstk.Label('D', (1.395,2.745), layer=68, texttype=5))
sdffsx4_lp.add(gdstk.Label('SN', (5.995,1.925), layer=68, texttype=5))
sdffsx4_lp.add(gdstk.Label('QN', (14.275,2.11), layer=68, texttype=5))
sdffsx4_lp.add(gdstk.Label('SE', (1.395,1.65), layer=68, texttype=5))
sdffsx4_lp.add(gdstk.Label('VDD', (8.005,4.145), layer=68, texttype=5))
sdffsx4_lp.add(gdstk.Label('VSS', (8.15,0.005), layer=68, texttype=5))

lib.write_gds('SDFFSX4_LP.gds')
